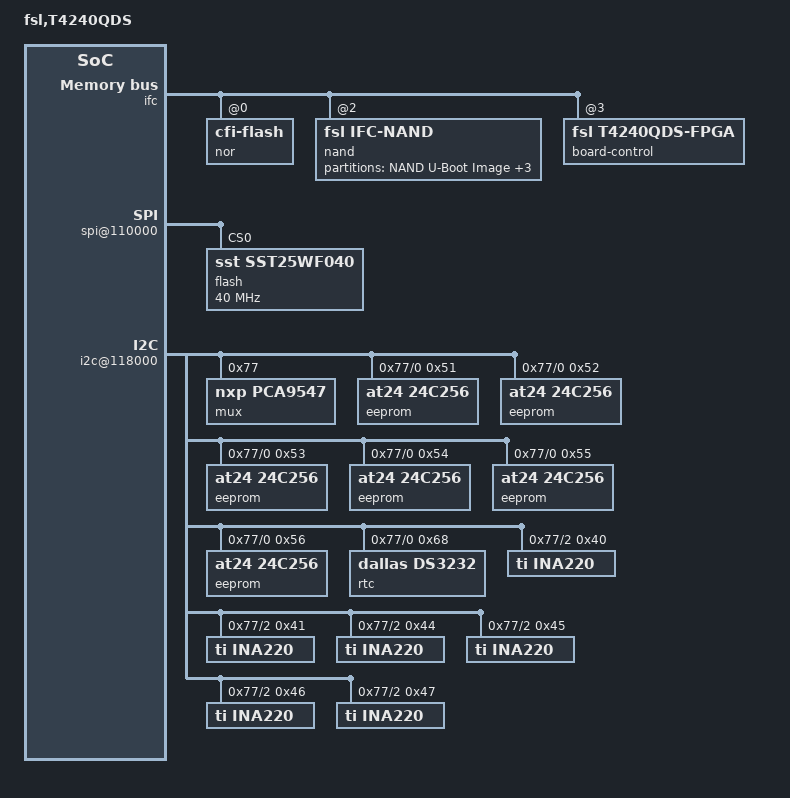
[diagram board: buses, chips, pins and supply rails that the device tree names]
/*
 * T4240QDS Device Tree Source
 *
 * Copyright 2012 - 2014 Freescale Semiconductor Inc.
 *
 * Redistribution and use in source and binary forms, with or without
 * modification, are permitted provided that the following conditions are met:
 *     * Redistributions of source code must retain the above copyright
 *       notice, this list of conditions and the following disclaimer.
 *     * Redistributions in binary form must reproduce the above copyright
 *       notice, this list of conditions and the following disclaimer in the
 *       documentation and/or other materials provided with the distribution.
 *     * Neither the name of Freescale Semiconductor nor the
 *       names of its contributors may be used to endorse or promote products
 *       derived from this software without specific prior written permission.
 *
 *
 * ALTERNATIVELY, this software may be distributed under the terms of the
 * GNU General Public License ("GPL") as published by the Free Software
 * Foundation, either version 2 of that License or (at your option) any
 * later version.
 *
 * THIS SOFTWARE IS PROVIDED BY Freescale Semiconductor ``AS IS'' AND ANY
 * EXPRESS OR IMPLIED WARRANTIES, INCLUDING, BUT NOT LIMITED TO, THE IMPLIED
 * WARRANTIES OF MERCHANTABILITY AND FITNESS FOR A PARTICULAR PURPOSE ARE
 * DISCLAIMED. IN NO EVENT SHALL Freescale Semiconductor BE LIABLE FOR ANY
 * DIRECT, INDIRECT, INCIDENTAL, SPECIAL, EXEMPLARY, OR CONSEQUENTIAL DAMAGES
 * (INCLUDING, BUT NOT LIMITED TO, PROCUREMENT OF SUBSTITUTE GOODS OR SERVICES;
 * LOSS OF USE, DATA, OR PROFITS; OR BUSINESS INTERRUPTION) HOWEVER CAUSED AND
 * ON ANY THEORY OF LIABILITY, WHETHER IN CONTRACT, STRICT LIABILITY, OR TORT
 * (INCLUDING NEGLIGENCE OR OTHERWISE) ARISING IN ANY WAY OUT OF THE USE OF THIS
 * SOFTWARE, EVEN IF ADVISED OF THE POSSIBILITY OF SUCH DAMAGE.
 */

/include/ "fsl/t4240si-pre.dtsi"

/ {
	model = "fsl,T4240QDS";
	compatible = "fsl,T4240QDS";
	#address-cells = <2>;
	#size-cells = <2>;
	interrupt-parent = <&mpic>;

	ifc: localbus@ffe124000 {
		reg = <0xf 0xfe124000 0 0x2000>;
		ranges = <0 0 0xf 0xe8000000 0x08000000
			  2 0 0xf 0xff800000 0x00010000
			  3 0 0xf 0xffdf0000 0x00008000>;

		nor@0,0 {
			#address-cells = <1>;
			#size-cells = <1>;
			compatible = "cfi-flash";
			reg = <0x0 0x0 0x8000000>;

			bank-width = <2>;
			device-width = <1>;
		};

		nand@2,0 {
			#address-cells = <1>;
			#size-cells = <1>;
			compatible = "fsl,ifc-nand";
			reg = <0x2 0x0 0x10000>;

			partition@0 {
				/* This location must not be altered  */
				/* 1MB for u-boot Bootloader Image */
				reg = <0x0 0x00100000>;
				label = "NAND U-Boot Image";
				read-only;
			};

			partition@100000 {
				/* 1MB for DTB Image */
				reg = <0x00100000 0x00100000>;
				label = "NAND DTB Image";
			};

			partition@200000 {
				/* 10MB for Linux Kernel Image */
				reg = <0x00200000 0x00A00000>;
				label = "NAND Linux Kernel Image";
			};

			partition@C00000 {
				/* 500MB for Root file System Image */
				reg = <0x00c00000 0x1F400000>;
				label = "NAND RFS Image";
			};
		};

		board-control@3,0 {
			compatible = "fsl,t4240qds-fpga", "fsl,fpga-qixis";
			reg = <3 0 0x300>;
		};
	};

	memory {
		device_type = "memory";
	};

	reserved-memory {
		#address-cells = <2>;
		#size-cells = <2>;
		ranges;

		bman_fbpr: bman-fbpr {
			size = <0 0x1000000>;
			alignment = <0 0x1000000>;
		};
		qman_fqd: qman-fqd {
			size = <0 0x400000>;
			alignment = <0 0x400000>;
		};
		qman_pfdr: qman-pfdr {
			size = <0 0x2000000>;
			alignment = <0 0x2000000>;
		};
	};

	dcsr: dcsr@f00000000 {
		ranges = <0x00000000 0xf 0x00000000 0x01072000>;
	};

	bportals: bman-portals@ff4000000 {
		ranges = <0x0 0xf 0xf4000000 0x2000000>;
	};

	qportals: qman-portals@ff6000000 {
		ranges = <0x0 0xf 0xf6000000 0x2000000>;
	};

	soc: soc@ffe000000 {
		ranges = <0x00000000 0xf 0xfe000000 0x1000000>;
		reg = <0xf 0xfe000000 0 0x00001000>;
		spi@110000 {
			flash@0 {
				#address-cells = <1>;
				#size-cells = <1>;
				compatible = "sst,sst25wf040";
				reg = <0>;
				spi-max-frequency = <40000000>; /* input clock */
			};
		};

		i2c@118000 {
			mux@77 {
				compatible = "nxp,pca9547";
				reg = <0x77>;
				#address-cells = <1>;
				#size-cells = <0>;

				i2c@0 {
					#address-cells = <1>;
					#size-cells = <0>;
					reg = <0>;

					eeprom@51 {
						compatible = "at24,24c256";
						reg = <0x51>;
					};
					eeprom@52 {
						compatible = "at24,24c256";
						reg = <0x52>;
					};
					eeprom@53 {
						compatible = "at24,24c256";
						reg = <0x53>;
					};
					eeprom@54 {
						compatible = "at24,24c256";
						reg = <0x54>;
					};
					eeprom@55 {
						compatible = "at24,24c256";
						reg = <0x55>;
					};
					eeprom@56 {
						compatible = "at24,24c256";
						reg = <0x56>;
					};
					rtc@68 {
						compatible = "dallas,ds3232";
						reg = <0x68>;
						interrupts = <0x1 0x1 0 0>;
					};
				};

				i2c@2 {
					#address-cells = <1>;
					#size-cells = <0>;
					reg = <0x2>;

					ina220@40 {
						compatible = "ti,ina220";
						reg = <0x40>;
						shunt-resistor = <1000>;
					};

					ina220@41 {
						compatible = "ti,ina220";
						reg = <0x41>;
						shunt-resistor = <1000>;
					};

					ina220@44 {
						compatible = "ti,ina220";
						reg = <0x44>;
						shunt-resistor = <1000>;
					};

					ina220@45 {
						compatible = "ti,ina220";
						reg = <0x45>;
						shunt-resistor = <1000>;
					};

					ina220@46 {
						compatible = "ti,ina220";
						reg = <0x46>;
						shunt-resistor = <1000>;
					};

					ina220@47 {
						compatible = "ti,ina220";
						reg = <0x47>;
						shunt-resistor = <1000>;
					};
				};
			};
		};

		sdhc@114000 {
			voltage-ranges = <1800 1800 3300 3300>;
		};
	};

	pci0: pcie@ffe240000 {
		reg = <0xf 0xfe240000 0 0x10000>;
		ranges = <0x02000000 0 0xe0000000 0xc 0x00000000 0x0 0x20000000
			  0x01000000 0 0x00000000 0xf 0xf8000000 0x0 0x00010000>;
		pcie@0 {
			ranges = <0x02000000 0 0xe0000000
				  0x02000000 0 0xe0000000
				  0 0x20000000

				  0x01000000 0 0x00000000
				  0x01000000 0 0x00000000
				  0 0x00010000>;
		};
	};

	pci1: pcie@ffe250000 {
		reg = <0xf 0xfe250000 0 0x10000>;
		ranges = <0x02000000 0x0 0xe0000000 0xc 0x20000000 0x0 0x20000000
			  0x01000000 0x0 0x00000000 0xf 0xf8010000 0x0 0x00010000>;
		pcie@0 {
			ranges = <0x02000000 0 0xe0000000
				  0x02000000 0 0xe0000000
				  0 0x20000000

				  0x01000000 0 0x00000000
				  0x01000000 0 0x00000000
				  0 0x00010000>;
		};
	};

	pci2: pcie@ffe260000 {
		reg = <0xf 0xfe260000 0 0x1000>;
		ranges = <0x02000000 0 0xe0000000 0xc 0x40000000 0 0x20000000
			  0x01000000 0 0x00000000 0xf 0xf8020000 0 0x00010000>;
		pcie@0 {
			ranges = <0x02000000 0 0xe0000000
				  0x02000000 0 0xe0000000
				  0 0x20000000

				  0x01000000 0 0x00000000
				  0x01000000 0 0x00000000
				  0 0x00010000>;
		};
	};

	pci3: pcie@ffe270000 {
		reg = <0xf 0xfe270000 0 0x10000>;
		ranges = <0x02000000 0 0xe0000000 0xc 0x60000000 0 0x20000000
			  0x01000000 0 0x00000000 0xf 0xf8030000 0 0x00010000>;
		pcie@0 {
			ranges = <0x02000000 0 0xe0000000
				  0x02000000 0 0xe0000000
				  0 0x20000000

				  0x01000000 0 0x00000000
				  0x01000000 0 0x00000000
				  0 0x00010000>;
		};
	};
	rio: rapidio@ffe0c0000 {
		reg = <0xf 0xfe0c0000 0 0x11000>;

		port1 {
			ranges = <0 0 0xc 0x20000000 0 0x10000000>;
		};
		port2 {
			ranges = <0 0 0xc 0x30000000 0 0x10000000>;
		};
	};
};

/include/ "fsl/t4240si-post.dtsi"
